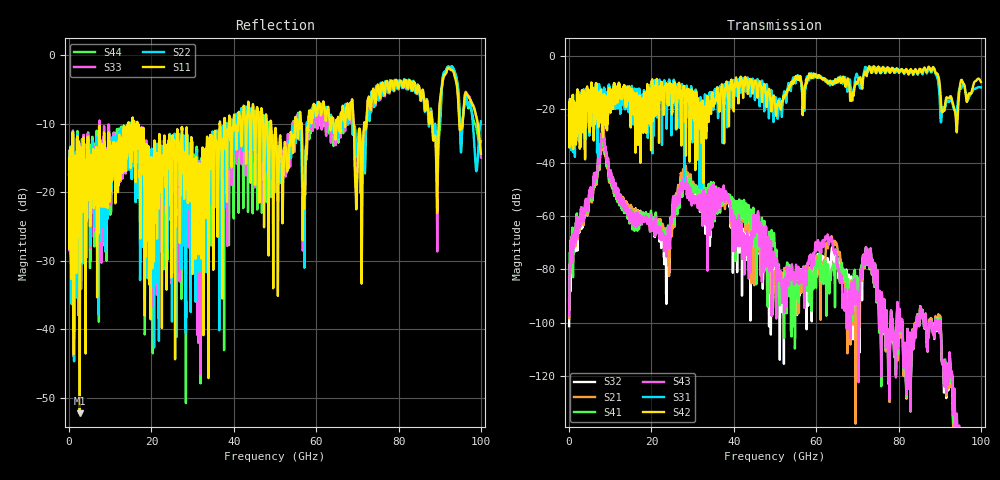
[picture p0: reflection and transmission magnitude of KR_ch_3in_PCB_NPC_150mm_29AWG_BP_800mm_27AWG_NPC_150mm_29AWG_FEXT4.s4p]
# GHz S RI R 45
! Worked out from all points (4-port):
!   4000 points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, 25 MHz to 100 GHz, reference 45 ohm
!   strongest paths, dB at 25 MHz, 25.02 GHz, 50.02 GHz, 75.03 GHz, 100 GHz:
!     S42: -22.2, -20.8, -18.7, -4.1, -9.8
!     S31: -22.1, -12.7, -15.7, -5.1, -11.8
!     S43: -97.3, -59.3, -77.7, -90.8, -170.5
!     S41: -91.9, -59.3, -73.1, -91.0, -168.4
!     S21: -98.2, -63.8, -82.5, -91.1, -168.6
!     S32: -101.2, -60.8, -86.1, -90.7, -167.1
!   lowest |S11| = -52.2 dB at 2.6 GHz (marker M1), VSWR 1.00, Z = 45.1 + j0.18 ohm
!   |S11| at or under -10 dB: start of sweep to 14.33 GHz; 16.58 GHz to 36.61 GHz (20.03 GHz wide, 75.3 % of centre); 49.07 GHz to 54.89 GHz (5.823 GHz wide, 11.2 % of centre) (the widest 3 of 36)
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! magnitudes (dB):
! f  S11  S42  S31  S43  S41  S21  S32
! 25 MHz  -17.4  -22.2  -22.1  -97.3  -91.9  -98.2  -101.2
! 2.6 GHz  -52.2  -27.8  -31.5  -63.3  -63.3  -64.8  -65.3
! 8.1 GHz  -13.0  -19.0  -19.2  -27.5  -29.5  -31.1  -29.0
! 23.4 GHz  -18.1  -12.9  -12.9  -68.2  -66.3  -65.6  -71.6
! 28.02 GHz  -18.5  -13.2  -24.0  -49.3  -47.9  -45.8  -47.4
! 49.15 GHz  -10.7  -20.6  -13.0  -71.5  -65.6  -81.1  -81.9
! 100 GHz  -14.4  -9.8  -11.8  -170.5  -168.4  -168.6  -167.1
